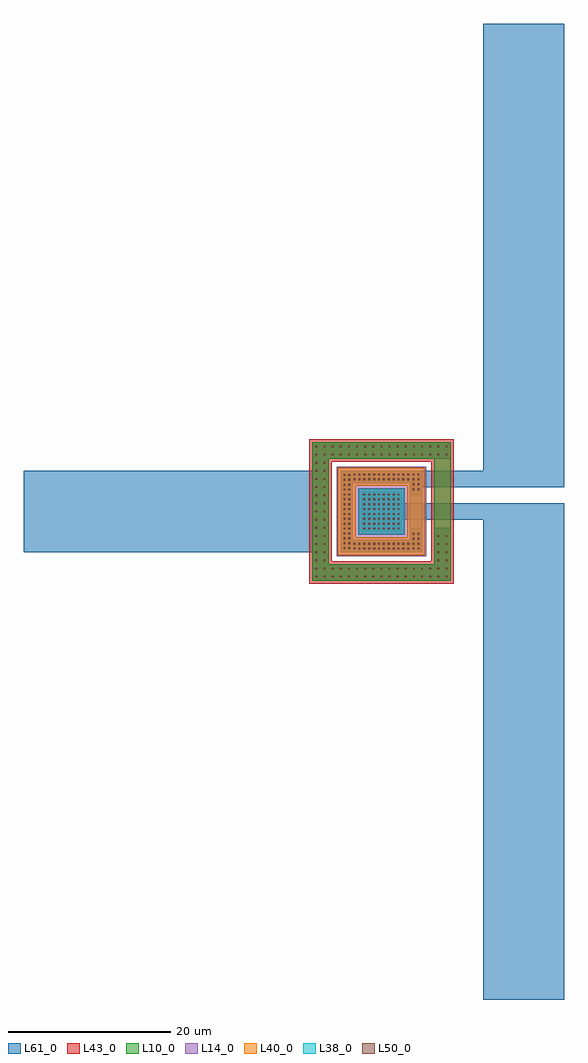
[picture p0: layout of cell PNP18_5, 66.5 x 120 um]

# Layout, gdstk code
import gdstk
lib = gdstk.Library(unit=1e-6, precision=1e-09)
def R(c, l, rs):  # rectangles x0, y0, x1, y1
    for r in rs: c.add(gdstk.rectangle(r[:2], r[2:], *l))
def P(c, l, *ps):  # polygons
    for p in ps: c.add(gdstk.Polygon(p, *l))
L10_0 = (10, 0)
L14_0 = (14, 0)
L38_0 = (38, 0)
L40_0 = (40, 0)
L43_0 = (43, 0)
L50_0 = (50, 0)
L61_0 = (61, 0)

cont022stc_tl001_m = lib.new_cell('CONT022STC_TL001_M')
R(cont022stc_tl001_m, L50_0, [(0,0,0.22,0.22)])

pnp18_5 = lib.new_cell('PNP18_5')
R(pnp18_5, L10_0, [(42.5,57.5,47.5,62.5)])
P(pnp18_5, L10_0, [(36.5,51.5),(36.5,68.5),(53.5,68.5),(53.5,51.5),(51.5,51.5),(51.5,66.5),(38.5,66.5),(38.5,53.5),(51.5,53.5),(51.5,51.5)],
  [(40,55),(40,65),(50,65),(50,55),(48.5,55),(48.5,63.5),(41.5,63.5),(41.5,56.5),(48.5,56.5),(48.5,55)])
R(pnp18_5, L14_0, [(39.5,54.5,50.5,65.5)])
R(pnp18_5, L38_0, [(42.2,57.2,47.8,62.8)])
P(pnp18_5, L40_0, [(39.65,54.65),(39.65,65.35),(50.35,65.35),(50.35,54.65),(48.15,54.65),(48.15,63.15),(41.85,63.15),(41.85,56.85),(48.15,56.85),(48.15,54.65)])
R(pnp18_5, L43_0, [(42.15,57.15,47.85,62.85)])
P(pnp18_5, L43_0, [(36.1,51.1),(36.1,68.9),(53.9,68.9),(53.9,51.1),(51.1,51.1),(51.1,66.1),(38.9,66.1),(38.9,53.9),(51.1,53.9),(51.1,51.1)])
R(pnp18_5, L61_0, [(57.5,0,67.5,61), (1,55,36.5,65), (48,55,50,56.5), (48.5,56.5,50,58), (42.5,57.5,47.5,62.5), (47.5,59,57.5,61), (48.5,62,50,63.5), (50,63,57.5,65), (57.5,63,67.5,120), (47.45,66.5,53.5,68.5)])
P(pnp18_5, L61_0, [(40,55),(40,65),(50,65),(50,63.5),(41.5,63.5),(41.5,56.5),(48,56.5),(48,55)],
  [(36.5,51.5),(36.5,68.5),(47.45,68.5),(47.45,66.5),(38.5,66.5),(38.5,53.5),(48,53.5),(48,51.5)],
  [(48,51.5),(48,53.5),(51.5,53.5),(51.5,58),(53.5,58),(53.5,51.5)])
r = gdstk.Reference(cont022stc_tl001_m, (42.79,62.21), x_reflection=True); r.repetition = gdstk.Repetition(8, 8, v1=(0.6,0), v2=(0,-0.6)); pnp18_5.add(r)
r = gdstk.Reference(cont022stc_tl001_m, (51.89,57.11), x_reflection=True); r.repetition = gdstk.Repetition(2, 4, v1=(1,0), v2=(0,-1)); pnp18_5.add(r)
r = gdstk.Reference(cont022stc_tl001_m, (48.84,64.66), x_reflection=True); r.repetition = gdstk.Repetition(2, 4, v1=(0.6,0), v2=(0,-0.6)); pnp18_5.add(r)
r = gdstk.Reference(cont022stc_tl001_m, (41.59,56.16), x_reflection=True); r.repetition = gdstk.Repetition(12, 2, v1=(0.6,0), v2=(0,-0.6)); pnp18_5.add(r)
r = gdstk.Reference(cont022stc_tl001_m, (36.89,53.11), x_reflection=True); r.repetition = gdstk.Repetition(17, 2, v1=(1,0), v2=(0,-1)); pnp18_5.add(r)
r = gdstk.Reference(cont022stc_tl001_m, (48.84,57.36), x_reflection=True); r.repetition = gdstk.Repetition(2, 4, v1=(0.6,0), v2=(0,-0.6)); pnp18_5.add(r)
r = gdstk.Reference(cont022stc_tl001_m, (36.89,68.11), x_reflection=True); r.repetition = gdstk.Repetition(17, 2, v1=(1,0), v2=(0,-1)); pnp18_5.add(r)
r = gdstk.Reference(cont022stc_tl001_m, (40.34,64.61), x_reflection=True); r.repetition = gdstk.Repetition(2, 16, v1=(0.6,0), v2=(0,-0.6)); pnp18_5.add(r)
r = gdstk.Reference(cont022stc_tl001_m, (41.59,64.66), x_reflection=True); r.repetition = gdstk.Repetition(12, 2, v1=(0.6,0), v2=(0,-0.6)); pnp18_5.add(r)
r = gdstk.Reference(cont022stc_tl001_m, (36.89,66.11), x_reflection=True); r.repetition = gdstk.Repetition(2, 13, v1=(1,0), v2=(0,-1)); pnp18_5.add(r)

lib.write_gds('PNP18_5.gds')
